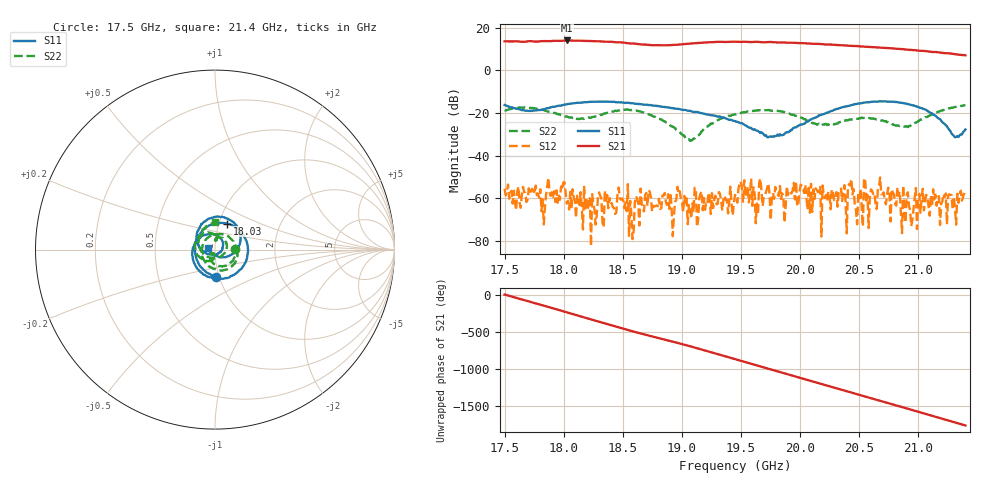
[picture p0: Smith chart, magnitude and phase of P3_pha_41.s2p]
!Created with skrf (http://scikit-rf.org).
# GHz S RI R 50.0
!freq ReS11 ImS11 ReS21 ImS21 ReS12 ImS12 ReS22 ImS22
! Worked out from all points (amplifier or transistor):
!   401 points, 17.5 GHz to 21.4 GHz, reference 50 ohm
!   highest |S21| = 14.0 dB at 18.03 GHz (marker M1)
!   |S21| within 3 dB of that: start of sweep to 20.58 GHz
!   unconditionally stable (mu >= 1): start of sweep to end of sweep
!   at 18.14 GHz: K = 70.60, MAG = 14.1 dB, |S12| = -57.2 dB
!   at 19.45 GHz: K = 88.49, MAG = 13.5 dB, |S12| = -58.5 dB
!   at 21.4 GHz: K = 173.92, MAG = 7.2 dB, |S12| = -58.1 dB
!   S11 on the Smith chart (normalised r, x): 17.5 GHz: 0.97, -0.30; 18.03 GHz: 1.09, +0.33; 21.4 GHz: 0.92, +0.01
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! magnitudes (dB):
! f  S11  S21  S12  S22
! 17.5 GHz  -16.3  13.6  -55.6  -19.0
! 17.74 GHz  -18.8  13.5  -56.7  -17.7
! 17.83 GHz  -18.2  13.7  -72.4  -18.7
! 17.87 GHz  -17.8  13.6  -50.4  -19.4
! 18.03 GHz  -15.9  14.0  -62.6  -21.7
! 18.15 GHz  -15.2  13.9  -64.6  -22.6
! 18.25 GHz  -14.8  13.7  -62.7  -21.8
! 18.48 GHz  -15.1  13.2  -60.1  -18.6
! 18.57 GHz  -15.4  12.6  -67.2  -18.6
! 18.71 GHz  -16.2  12.0  -63.7  -20.5
! 18.81 GHz  -16.8  11.8  -60.3  -22.8
! 18.93 GHz  -17.9  11.9  -68.1  -26.8
! 18.97 GHz  -18.1  12.1  -57.9  -28.6
! 19.07 GHz  -19.0  12.6  -63.8  -33.1
! 19.45 GHz  -23.8  13.5  -58.5  -20.7
! 19.51 GHz  -24.8  13.4  -55.2  -19.8
! 19.63 GHz  -28.2  13.4  -71.8  -18.9
! 19.74 GHz  -31.1  13.3  -58.3  -18.7
! 20.1 GHz  -22.7  12.5  -66.5  -24.8
! 20.76 GHz  -14.7  10.4  -56.3  -24.7
! 20.94 GHz  -16.2  9.6  -73.1  -25.5
! 21.4 GHz  -27.8  7.0  -58.1  -16.4
